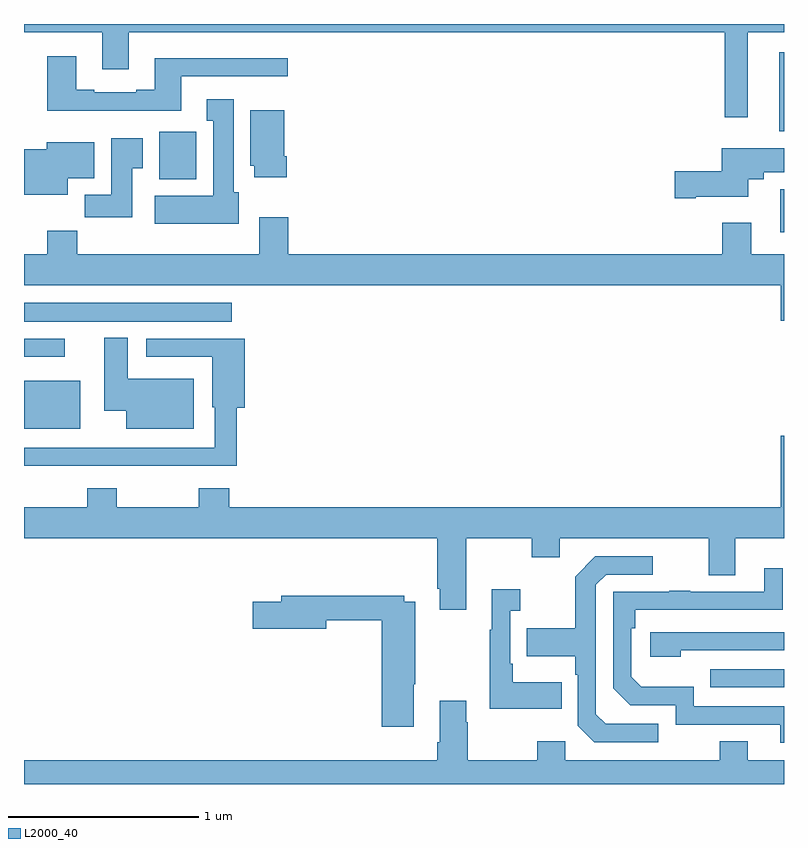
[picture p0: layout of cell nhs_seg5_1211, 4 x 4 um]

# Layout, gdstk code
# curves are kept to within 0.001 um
import gdstk
lib = gdstk.Library(unit=1e-6, precision=1e-09)
def R(c, l, rs):  # rectangles x0, y0, x1, y1
    for r in rs: c.add(gdstk.rectangle(r[:2], r[2:], *l))
def P(c, l, *ps):  # polygons
    for p in ps: c.add(gdstk.Polygon(p, *l))
L2000_40 = (2000, 40)

nhs_seg5_1211 = lib.new_cell('nhs_seg5_1211')
R(nhs_seg5_1211, L2000_40, [(188.611,857.307,189,857.403), (185,858.668,185.296,858.922), (185,859.047,185.215,859.143), (185,859.232,186.094,859.333), (188.981,859.704,189,859.929), (185.711,859.982,185.907,860.233), (188.975,860.234,189,860.65)])
P(nhs_seg5_1211, L2000_40, [(188.809,860.756),(189,860.756),(189,860.799),(185,860.799),(185,860.756),(185.411,860.756),(185.411,860.562),(185.551,860.562),(185.551,860.756),(188.688,860.756),(188.688,860.307),(188.809,860.307)],
  [(185.827,860.523),(186.388,860.523),(186.388,860.62),(185.687,860.62),(185.687,860.452),(185.591,860.452),(185.591,860.439),(185.371,860.439),(185.371,860.452),(185.275,860.452),(185.275,860.629),(185.123,860.629),(185.123,860.342),(185.827,860.342)],
  [(186.13,859.914),(186.103,859.914),(186.103,860.404),(185.963,860.404),(185.963,860.291),(185.996,860.291),(185.996,859.894),(185.687,859.894),(185.687,859.748),(186.13,859.748)],
  [(186.383,860.104),(186.37,860.104),(186.37,860.344),(186.191,860.344),(186.191,860.052),(186.212,860.052),(186.212,859.992),(186.383,859.992)],
  [(185.569,860.041),(185.626,860.041),(185.626,860.197),(185.459,860.197),(185.459,859.9),(185.32,859.9),(185.32,859.782),(185.569,859.782)],
  [(185.23,859.988),(185.371,859.988),(185.371,860.176),(185.12,860.176),(185.12,860.14),(185,860.14),(185,859.901),(185.23,859.901)],
  [(188.536,859.889),(188.812,859.889),(188.812,859.982),(188.893,859.982),(188.893,860.018),(189,860.018),(189,860.146),(188.672,860.146),(188.672,860.024),(188.424,860.024),(188.424,859.882),(188.536,859.882)],
  [(189,859.588),(188.827,859.588),(188.827,859.753),(188.675,859.753),(188.675,859.588),(186.392,859.588),(186.392,859.783),(186.239,859.783),(186.239,859.588),(185.279,859.588),(185.279,859.712),(185.123,859.712),(185.123,859.588),(185,859.588),(185,859.424),(188.984,859.424),(188.984,859.236),(189,859.236)],
  [(185.893,858.931),(185.545,858.931),(185.545,859.147),(185.423,859.147),(185.423,858.764),(185.537,858.764),(185.537,858.668),(185.893,858.668)],
  [(185.243,858.474),(185.575,858.474),(185.575,858.473),(185.831,858.473),(185.831,858.474),(186.119,858.474),(186.119,858.779),(186.161,858.779),(186.161,859.143),(185.643,859.143),(185.643,859.047),(185.99,859.047),(185.99,858.783),(186.003,858.783),(186.003,858.57),(185,858.57),(185,858.473),(185.243,858.473)],
  [(187.327,858.092),(187.672,858.092),(187.672,857.993),(187.819,857.993),(187.819,858.092),(188.603,858.092),(188.603,857.898),(188.743,857.898),(188.743,858.092),(189,858.092),(189,858.631),(188.984,858.631),(188.984,858.256),(186.08,858.256),(186.08,858.355),(185.92,858.355),(185.92,858.256),(185.487,858.256),(185.487,858.355),(185.332,858.355),(185.332,858.256),(185,858.256),(185,858.092),(187.175,858.092),(187.175,857.827),(187.187,857.827),(187.187,857.715),(187.327,857.715)],
  [(188.338,857.115),(188.061,857.115),(188.01,857.166),(188.01,857.847),(188.064,857.901),(188.308,857.901),(188.308,857.997),(188.007,857.997),(187.902,857.891),(187.902,857.619),(187.645,857.619),(187.645,857.471),(187.902,857.471),(187.902,857.375),(187.914,857.375),(187.914,857.106),(188.001,857.019),(188.338,857.019)],
  [(189,857.208),(188.526,857.208),(188.526,857.311),(188.249,857.311),(188.196,857.364),(188.196,857.618),(188.216,857.618),(188.216,857.715),(188.993,857.716),(188.993,857.935),(188.897,857.935),(188.897,857.811),(188.507,857.811),(188.507,857.816),(188.395,857.816),(188.395,857.811),(188.1,857.811),(188.1,857.304),(188.19,857.214),(188.43,857.214),(188.43,857.112),(188.981,857.112),(188.981,857.016),(189,857.016)],
  [(187.829,857.335),(187.573,857.335),(187.573,857.431),(187.56,857.431),(187.56,857.711),(187.612,857.711),(187.612,857.824),(187.463,857.824),(187.463,857.611),(187.452,857.611),(187.452,857.195),(187.829,857.195)],
  [(187.051,857.323),(187.059,857.323),(187.059,857.758),(187.002,857.758),(187.002,857.791),(186.353,857.791),(186.353,857.757),(186.204,857.757),(186.204,857.615),(186.592,857.615),(186.592,857.662),(186.884,857.662),(186.884,857.1),(187.051,857.1)],
  [(188.456,857.502),(189,857.502),(189,857.598),(188.295,857.598),(188.295,857.468),(188.456,857.468)],
  [(189,856.924),(188.809,856.924),(188.809,857.023),(188.662,857.023),(188.662,856.924),(187.848,856.924),(187.848,857.023),(187.702,857.023),(187.702,856.924),(187.335,856.924),(187.335,857.123),(187.327,857.123),(187.327,857.236),(187.187,857.236),(187.187,857.02),(187.175,857.02),(187.175,856.924),(185,856.924),(185,856.799),(189,856.799)])

lib.write_gds('nhs_seg5_1211.gds')
